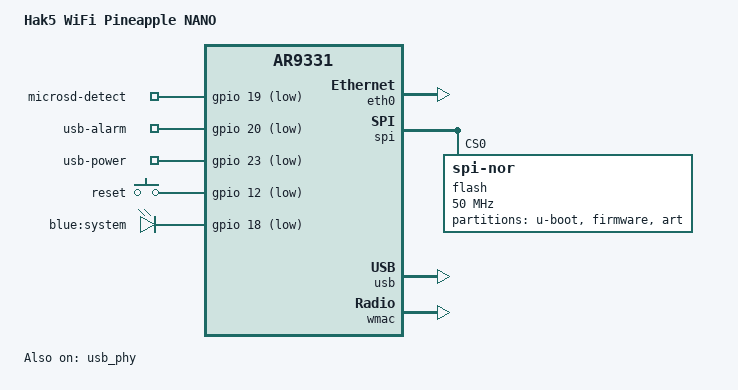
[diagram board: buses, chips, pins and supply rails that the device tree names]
// SPDX-License-Identifier: GPL-2.0-or-later OR MIT

#include "ar9331.dtsi"

#include <dt-bindings/gpio/gpio.h>
#include <dt-bindings/input/input.h>

/ {
	model = "Hak5 WiFi Pineapple NANO";
	compatible = "hak5,wifi-pineapple-nano", "qca,ar9331";

	aliases {
		label-mac-device = &wmac;
		led-boot = &led_system;
		led-failsafe = &led_system;
		led-upgrade = &led_system;
	};

	gpio-export {
		compatible = "gpio-export";
		#size-cells = <0>;

		microsd-detect {
			gpio-export,name = "microsd-detect";
			gpios = <&gpio 19 GPIO_ACTIVE_LOW>;
		};

		usb-alarm {
			gpio-export,name = "usb-alarm";
			gpios = <&gpio 20 GPIO_ACTIVE_LOW>;
		};

		usb-power {
			gpio-export,name = "usb-power";
			gpio-export,output = <0>;
			gpios = <&gpio 23 GPIO_ACTIVE_LOW>;
		};
	};

	keys {
		compatible = "gpio-keys";

		reset {
			label = "reset";
			linux,code = <KEY_RESTART>;
			gpios = <&gpio 12 GPIO_ACTIVE_LOW>;
			debounce-interval = <60>;
		};
	};

	leds {
		compatible = "gpio-leds";

		led_system: system {
			label = "blue:system";
			gpios = <&gpio 18 GPIO_ACTIVE_LOW>;
			linux,default-trigger = "phy0tpt";
		};
	};
};

&eth0 {
	status = "okay";

	mtd-mac-address = <&art 0x6>;
};

&eth1 {
	status = "okay";

	compatible = "syscon", "simple-mfd";
};

&spi {
	status = "okay";

	flash@0 {
		compatible = "jedec,spi-nor";
		reg = <0>;
		spi-max-frequency = <50000000>;
		m25p,fast-read;

		partitions {
			compatible = "fixed-partitions";
			#address-cells = <1>;
			#size-cells = <1>;

			partition@0 {
				label = "u-boot";
				reg = <0x000000 0x020000>;
				read-only;
			};

			partition@20000 {
				label = "firmware";
				reg = <0x020000 0xfd0000>;
				compatible = "tplink,firmware";
			};

			art: partition@ff0000 {
				label = "art";
				reg = <0xff0000 0x010000>;
				read-only;
			};
		};
	};
};

&usb {
	status = "okay";
};

&usb_phy {
	status = "okay";
};

&wmac {
	status = "okay";

	mtd-cal-data = <&art 0x1000>;
};
